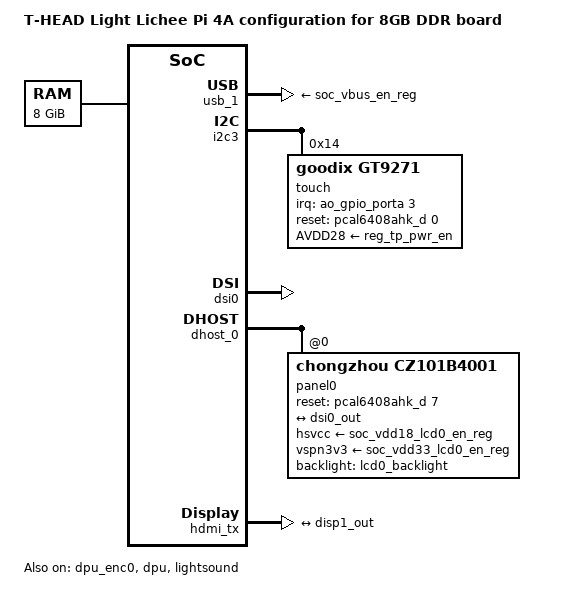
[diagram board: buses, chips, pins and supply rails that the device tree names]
/* SPDX-License-Identifier: GPL-2.0 */
/*
 * Copyright (C) 2022 Alibaba Group Holding Limited.
 */

#include "light-lpi4a-ref.dts"

/ {
	model = "T-HEAD Light Lichee Pi 4A configuration for 8GB DDR board";
	compatible = "thead,light-val", "thead,light-lpi4a", "thead,light";

	memory@0 {
		device_type = "memory";
		reg = <0x0 0x00000000 0x2 0x00000000>;
	};
};

&cmamem {
	alloc-ranges = <0x1 0xe4000000 0 0x14000000>; // [0x1E400_0000 ~ 0x1F800_0000]
};

&usb_1 {
	hubswitch-gpio = <&ao_gpio_porta 4 0>;
	vbus-supply = <&soc_vbus_en_reg>;
	hub1v2-supply = <&reg_usb_hub_vdd1v2>;
	hub5v-supply = <&reg_usb_hub_vcc5v>;
};

&qspi0 {
        status = "disabled";
};

&i2c3 {
	touch@14 {
		#gpio-cells = <2>;
		compatible = "goodix,gt9271";
		reg = <0x14>;
		interrupt-parent = <&ao_gpio_porta>;
		interrupts = <3 0>; 
		irq-gpios = <&ao_gpio_porta 3 0>; 
		reset-gpios = <&pcal6408ahk_d 0 0>; 
		AVDD28-supply = <&reg_tp_pwr_en>;
		touchscreen-size-x = <800>;
		touchscreen-size-y = <1280>;
		tp-size = <9271>;
		status = "okay";
	};
};

&dpu_enc0 {
       status = "okay";

       ports {
               /* output */
               port@1 {
                       reg = <1>;

                       enc0_out: endpoint {
                               remote-endpoint = <&dsi0_in>;
                       };
               };
       };
};

&dpu_enc1 {
        ports {
                /delete-node/ port@0;
        };
};

&dpu {
        status = "okay";
};

&dsi0 {
        status = "okay";
};

&dhost_0 {
       ports {
               #address-cells = <1>;
               #size-cells = <0>;

               port@0 {
                       reg = <0>;

                       dsi0_in: endpoint {
                               remote-endpoint = <&enc0_out>;
                       };
               };

               port@1 {
                       reg = <1>;

                       dsi0_out: endpoint {
                               remote-endpoint = <&panel0_in>;
                       };
               };
       };

       panel0@0 {
		compatible = "chongzhou,cz101b4001", "jadard,jd9365da-h3";
		reg = <0>;
		backlight = <&lcd0_backlight>;
		reset-gpio = <&pcal6408ahk_d 7 0>; /* active low */
		hsvcc-supply = <&soc_vdd18_lcd0_en_reg>;  
		vspn3v3-supply = <&soc_vdd33_lcd0_en_reg>;

               port {
                       panel0_in: endpoint {
                               remote-endpoint = <&dsi0_out>;
                       };
               };
       };
};

&disp1_out {
	remote-endpoint = <&hdmi_tx_in>;
};

&hdmi_tx {
	status = "okay";

	port@0 {
		/* input */
		hdmi_tx_in: endpoint {
			remote-endpoint = <&disp1_out>;
		};
	};
};

&lightsound {
        status = "okay";
        simple-audio-card,dai-link@0 {          /* I2S - AUDIO SYS CODEC 8156*/
                reg = <0>;
                format = "i2s";
                cpu {
                        sound-dai = <&i2s1 0>;
                };
                codec {
                        sound-dai = <&es8156_audio_codec>;
                };
        };
        simple-audio-card,dai-link@1 {          /* I2S - AUDIO SYS CODEC 7210*/
                reg = <1>;
                format = "i2s";
                cpu {
                        sound-dai = <&i2s1 0>;
                };
                codec {
                        sound-dai = <&es7210_audio_codec>;
                };
        };
        simple-audio-card,dai-link@2 {          /* I2S - HDMI */
                reg = <2>;
                format = "i2s";
                cpu {
                        sound-dai = <&light_i2s 1>;
                };
                codec {
                        sound-dai = <&dummy_codec 2>;
                };
        };
};
